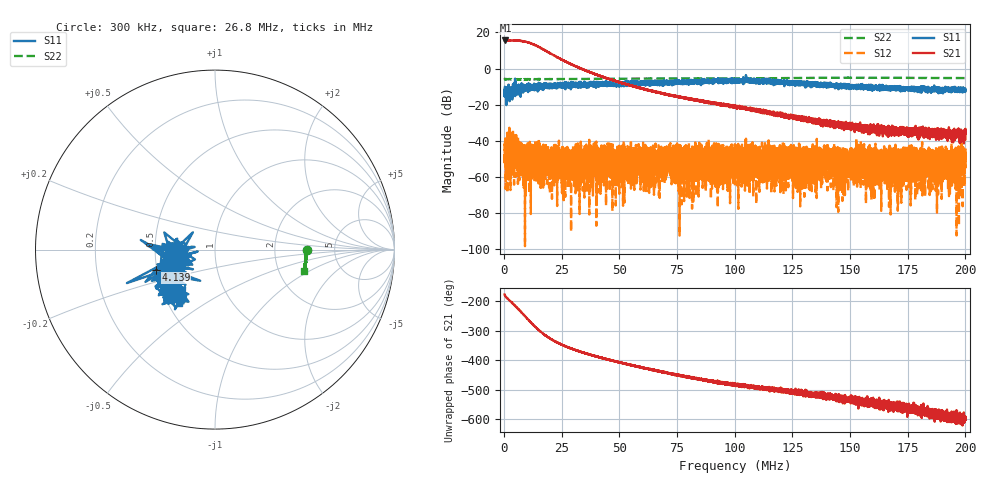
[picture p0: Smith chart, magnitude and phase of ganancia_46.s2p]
# Hz S DB R 50
! CMT, M5065, 19127446, 24.2.4/2
! Date: 11/8/2024 5:19:54 PM
! Data: Format (Calibration Info)
! Freq	S11:dB/Ang(F2)	S21:dB/Ang(F2)	S12:dB/Ang(F2)	S22:dB/Ang(F2)
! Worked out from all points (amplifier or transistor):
!   9000 points, 300 kHz to 200 MHz, reference 50 ohm
!   highest |S21| = 15.6 dB at 677.3 kHz (marker M1)
!   |S21| within 3 dB of that: start of sweep to 14.18 MHz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
!   unconditionally stable (mu >= 1): start of sweep to end of sweep
!   at 33.59 MHz: K = 155.49, MAG = 1.8 dB, |S12| = -53.6 dB
!   at 100.2 MHz: K = 6854.76, MAG = -19.3 dB, |S12| = -65.7 dB
!   at 200 MHz: K = 3482.67, MAG = -34.4 dB, |S12| = -44.3 dB
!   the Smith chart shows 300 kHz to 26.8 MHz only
!   S11 on the Smith chart (normalised r, x): 300 kHz: 0.69, -0.01; 4.139 MHz: 0.49, -0.13; 26.8 MHz: 0.57, -0.39
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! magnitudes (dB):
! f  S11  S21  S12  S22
! 300 kHz  -14.9  15.5  -47.7  -5.8
! 677.3 kHz  -15.7  15.6  -50.6  -5.9
! 4.139 MHz  -9.2  15.5  -45.8  -5.9
! 8.489 MHz  -12.1  15.1  -52.4  -5.9
! 26.8 MHz  -8.9  3.9  -49.5  -5.8
! 33.59 MHz  -9.0  -0.1  -53.6  -5.8
! 45.9 MHz  -8.9  -5.9  -47.6  -5.7
! 47.94 MHz  -8.7  -6.7  -61.1  -5.7
! 66.87 MHz  -8.4  -13.2  -55.4  -5.5
! 71.16 MHz  -7.8  -14.6  -53.8  -5.5
! 100.2 MHz  -7.6  -21.6  -65.7  -5.4
! 104 MHz  -6.0  -21.5  -53.3  -5.4
! 110.3 MHz  -6.1  -23.6  -46.4  -5.4
! 118.8 MHz  -7.4  -25.5  -49.5  -5.3
! 133.4 MHz  -8.4  -29.4  -54.3  -5.2
! 136.6 MHz  -9.0  -29.5  -48.4  -5.1
! 145.8 MHz  -9.6  -30.1  -49.1  -5.1
! 150.5 MHz  -9.9  -32.4  -51.7  -5.1
! 166.7 MHz  -11.5  -33.5  -51.4  -5.1
! 192.7 MHz  -12.4  -35.3  -48.5  -5.3
! 198.2 MHz  -12.8  -36.0  -41.7  -5.3
! 200 MHz  -11.3  -36.2  -44.3  -5.3
